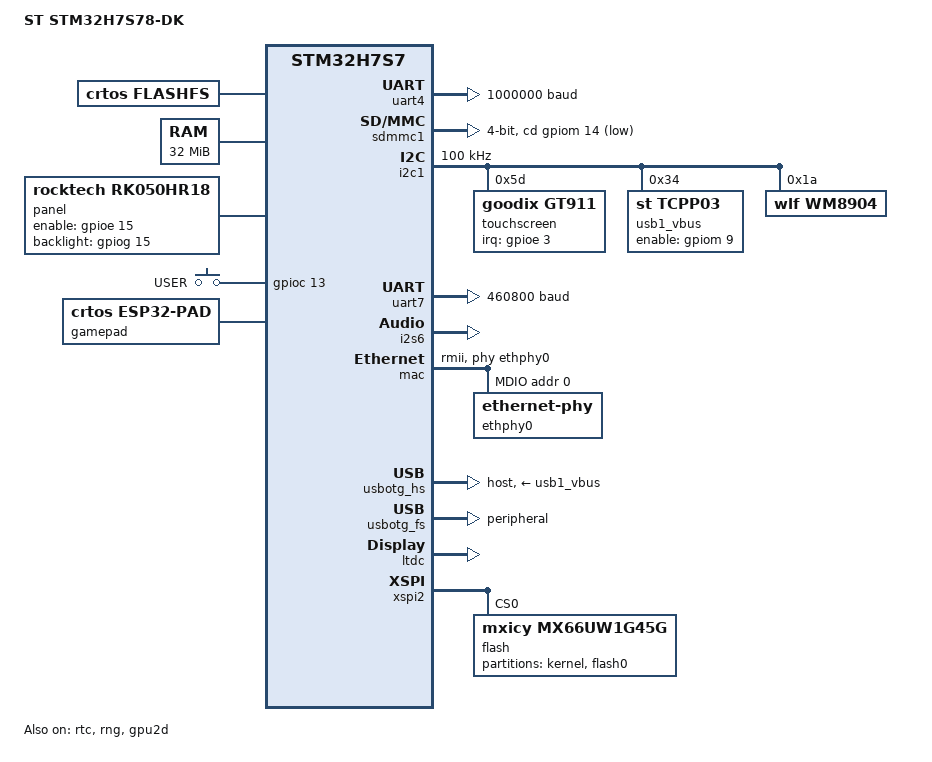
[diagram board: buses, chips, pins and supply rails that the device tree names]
// SPDX-License-Identifier: BSD-3-Clause
/*
 * ST STM32H7S78-DK board description for CRTOS. Pins as ST's BSP (STM32CubeH7RS
 * Drivers/BSP/STM32H7S78-DK) and the board's user manual UM3289 have them.
 */
/dts-v1/;

#include "stm32h7s7.dtsi"
#include <dt-bindings/input/input.h>

/ {
	model = "ST STM32H7S78-DK";
	compatible = "st,stm32h7s78-dk", "st,stm32h7s7";

	aliases {
		serial4 = &uart4;
		serial7 = &uart7;
		mmc0 = &sdmmc1;
		display0 = &ltdc;
	};

	chosen {
		stdout-path = "serial4:1000000n8";
		crtos,init = "/sd/crtos/sbin/init.app";
	};

	/* files on the NOR flash beyond the kernel, programs there run in place (drivers/fs/flashfs.c) */
	flashfs {
		compatible = "crtos,flashfs";
		partition = <&flash0_part>;
		mountpoint = "/flash0";
	};

	psram: memory@90000000 {
		device_type = "memory";
		reg = <0x90000000 0x2000000>;
	};

	/* The 5" RK050HR18 panel (800x480, 24-bit RGB) with its GT911 touch controller: DISP
	 * on PE15, the backlight on PG15 */
	panel: panel {
		compatible = "rocktech,rk050hr18";
		enable-gpios = <&gpioe 15 GPIO_ACTIVE_HIGH>;
		backlight-gpios = <&gpiog 15 GPIO_ACTIVE_HIGH>;

		display-timings {
			native-mode = <&timing0>;

			/* ST's BSP values; 25 MHz typical, PLL3 R gives 24.576 MHz (59.9 Hz) */
			timing0: timing-800x480 {
				clock-frequency = <25000000>;
				hactive = <800>;
				vactive = <480>;
				hfront-porch = <8>;
				hback-porch = <8>;
				hsync-len = <4>;
				vfront-porch = <8>;
				vback-porch = <8>;
				vsync-len = <4>;
				hsync-active = <0>;
				vsync-active = <0>;
				de-active = <1>;
				pixelclk-active = <1>;
			};
		};
	};

	gpio-keys {
		compatible = "gpio-keys";
		pinctrl-names = "default";
		pinctrl-0 = <&pinctrl_keys>;

		user-button {
			label = "USER";
			gpios = <&gpioc 13 GPIO_ACTIVE_HIGH>;
			linux,code = <KEY_HOME>;
			debounce-interval = <20>;
		};
	};

	/* A DualSense (Edge) pad over Bluetooth through the ESP32 bridge (esp32-s3-bt-mod/):
	 * ESP32 GPIO17 (UART2 TX) -> D0 of the Arduino connector (PE7, UART7 RX), GND -> GND.
	 * The driver (drivers/input/esp32-pad) reads the bridge's frames from UART7 (uart-stm32,
	 * /dev/ttyS7) and makes the pad an input device. */
	gamepad {
		compatible = "crtos,esp32-pad";
		port = "/dev/ttyS7";
		current-speed = <460800>;
	};

	/* the TCP/IP stack (lwIP, drivers/net/lwip): sockets on every network interface */
	tcpip {
		compatible = "crtos,lwip";
	};
};

&pinctrl {
	/* the touch controller and the audio codec */
	pinctrl_i2c1: i2c1grp {
		pinmux = <STM32_PINMUX(B, 6, AF4)>, <STM32_PINMUX(B, 9, AF4)>;
		drive-open-drain;
		bias-pull-up;
	};

	/* GT911 INT */
	pinctrl_touch: touchgrp {
		pinmux = <STM32_PINMUX(E, 3, GPIO)>;
		bias-pull-down;
	};

	/* I2S6 to the WM8904: MCK, CK, WS, SDO (SDI on PG12 is the codec's ADC, unused) */
	pinctrl_i2s6: i2s6grp {
		pinmux = <STM32_PINMUX(A, 3, AF5)>, <STM32_PINMUX(A, 5, AF8)>, <STM32_PINMUX(A, 4, AF8)>,
			 <STM32_PINMUX(B, 5, AF8)>;
		slew-rate = <STM32_SLEW_HIGH>;
	};

	/* LTDC: R0-R7, G0-G7, B0-B7, DE, CLK, HSYNC, VSYNC */
	pinctrl_ltdc: ltdcgrp {
		pinmux = <STM32_PINMUX(F, 9, AF13)>, <STM32_PINMUX(F, 10, AF14)>, <STM32_PINMUX(F, 0, AF11)>,
			 <STM32_PINMUX(B, 4, AF13)>, <STM32_PINMUX(B, 3, AF13)>, <STM32_PINMUX(A, 15, AF13)>,
			 <STM32_PINMUX(G, 1, AF13)>, <STM32_PINMUX(G, 0, AF13)>,
			 <STM32_PINMUX(F, 7, AF13)>, <STM32_PINMUX(F, 15, AF13)>, <STM32_PINMUX(A, 1, AF13)>,
			 <STM32_PINMUX(A, 0, AF13)>, <STM32_PINMUX(B, 13, AF10)>, <STM32_PINMUX(B, 12, AF13)>,
			 <STM32_PINMUX(B, 11, AF13)>, <STM32_PINMUX(B, 15, AF10)>,
			 <STM32_PINMUX(F, 11, AF14)>, <STM32_PINMUX(G, 14, AF13)>, <STM32_PINMUX(A, 12, AF13)>,
			 <STM32_PINMUX(A, 11, AF13)>, <STM32_PINMUX(A, 10, AF14)>, <STM32_PINMUX(A, 9, AF14)>,
			 <STM32_PINMUX(A, 8, AF13)>, <STM32_PINMUX(A, 6, AF12)>,
			 <STM32_PINMUX(B, 14, AF13)>, <STM32_PINMUX(G, 13, AF13)>, <STM32_PINMUX(G, 2, AF13)>,
			 <STM32_PINMUX(E, 11, AF11)>;
		slew-rate = <STM32_SLEW_HIGH>;
	};

	/* Ethernet RMII to the LAN8742A, its MDIO (MDC on PC1 needs JP6 in that position) */
	pinctrl_eth: ethgrp {
		pinmux = <STM32_PINMUX(D, 7, AF4)>, <STM32_PINMUX(A, 7, AF11)>, <STM32_PINMUX(C, 4, AF11)>,
			 <STM32_PINMUX(C, 5, AF11)>, <STM32_PINMUX(G, 11, AF11)>, <STM32_PINMUX(B, 0, AF11)>,
			 <STM32_PINMUX(B, 1, AF11)>, <STM32_PINMUX(A, 2, AF11)>, <STM32_PINMUX(C, 1, AF11)>;
		slew-rate = <STM32_SLEW_HIGH>;
	};

	/* USB1 (OTG_HS): D-, D+, and the CC lines of its USB-C connector (UCPD1); USB2 (OTG_FS):
	 * D-, D+ */
	pinctrl_usb_hs: usbhsgrp {
		pinmux = <STM32_PINMUX(M, 5, AF10)>, <STM32_PINMUX(M, 6, AF10)>, <STM32_PINMUX(M, 0, ANALOG)>,
			 <STM32_PINMUX(M, 1, ANALOG)>;
	};

	/* the TCPP03 of USB1: ENABLE (PM9), FLGn (PM8, a fault: unused) */
	pinctrl_tcpp: tcppgrp {
		pinmux = <STM32_PINMUX(M, 9, GPIO)>, <STM32_PINMUX(M, 8, GPIO)>;
		bias-pull-up;
	};

	pinctrl_usb_fs: usbfsgrp {
		pinmux = <STM32_PINMUX(M, 12, AF10)>, <STM32_PINMUX(M, 11, AF10)>;
	};

	/* the panel's DISP and backlight */
	pinctrl_panel: panelgrp {
		pinmux = <STM32_PINMUX(E, 15, GPIO)>, <STM32_PINMUX(G, 15, GPIO)>;
	};

	/* the USER button (B2): high when pressed */
	pinctrl_keys: keysgrp {
		pinmux = <STM32_PINMUX(C, 13, GPIO)>;
		bias-pull-down;
	};

	/* UART7 on the Arduino connector: D0 (PE7, RX) and D1 (PE8, TX); RX pulled up, so a line
	 * without the ESP32 bridge stays idle */
	pinctrl_uart7: uart7grp {
		pinmux = <STM32_PINMUX(E, 7, AF7)>, <STM32_PINMUX(E, 8, AF7)>;
		bias-pull-up;
	};
};

/* the console: the ST-LINK's virtual COM port (the kernel's own driver) */
&uart4 {
	current-speed = <1000000>;
	status = "okay";
};

/* micro SD slot (the kernel's own driver: the system boots from it) */
&sdmmc1 {
	bus-width = <4>;
	cd-gpios = <&gpiom 14 GPIO_ACTIVE_LOW>;
	status = "okay";
};

&i2c1 {
	pinctrl-names = "default";
	pinctrl-0 = <&pinctrl_i2c1>;
	clock-frequency = <100000>;
	status = "okay";

	/* the panel's touch controller (the board has no reset line for it: address 0x5d) */
	touchscreen@5d {
		compatible = "goodix,gt911";
		reg = <0x5d>;
		pinctrl-names = "default";
		pinctrl-0 = <&pinctrl_touch>;
		interrupt-parent = <&gpioe>;
		interrupts = <3 IRQ_TYPE_EDGE_RISING>;
	};

	/* the protection of the USB-C connector USB1, whose gate drivers put the board's 5 V on
	 * its VBUS (usb-stm32: the host side there) */
	usb1_vbus: usb-power@34 {
		compatible = "st,tcpp03";
		reg = <0x34>;
		pinctrl-names = "default";
		pinctrl-0 = <&pinctrl_tcpp>;
		enable-gpios = <&gpiom 9 GPIO_ACTIVE_HIGH>;
	};

	/* sound: the headphone jack (i2s-stm32, /dev/audio) */
	wm8904: audio-codec@1a {
		compatible = "wlf,wm8904";
		reg = <0x1a>;
	};
};

/* the serial port of the Arduino connector (D0/D1): the ESP32 pad bridge, 460800 baud */
&uart7 {
	pinctrl-names = "default";
	pinctrl-0 = <&pinctrl_uart7>;
	current-speed = <460800>;
	status = "okay";
};

&i2s6 {
	pinctrl-names = "default";
	pinctrl-0 = <&pinctrl_i2s6>;
	audio-codec = <&wm8904>;
	status = "okay";
};

/* Ethernet: the LAN8742A PHY at MDIO address 0, which makes the 50 MHz RMII clock */
&mac {
	pinctrl-names = "default";
	pinctrl-0 = <&pinctrl_eth>;
	phy-mode = "rmii";
	phy-handle = <&ethphy0>;
	status = "okay";

	mdio {
		#address-cells = <1>;
		#size-cells = <0>;
		ethphy0: ethernet-phy@0 {
			reg = <0>;
		};
	};
};

/* USB1 (USB-C, high speed): keyboards, mice and hubs - through an adapter to USB-A as well.
 * VBUS goes on when the UCPD sees a device on the CC lines (TCPP03 above). */
&usbotg_hs {
	pinctrl-names = "default";
	pinctrl-0 = <&pinctrl_usb_hs>;
	clocks = <&rcc STM32_CLK(STM32_AHB1ENR, STM32_AHB1_OTGHS)>, <&rcc STM32_CLK(STM32_AHB1ENR, STM32_AHB1_USBPHYC)>,
		 <&rcc STM32_CLK(STM32_APB1ENR2, STM32_APB12_UCPD1)>;
	clock-names = "otg", "phy", "typec";
	dr_mode = "host";
	vbus-supply = <&usb1_vbus>;
	typec-controller = <&ucpd1>;
	status = "okay";
};

/* USB2 (a sink-only USB-C port): the board as a USB serial port of the computer (/dev/ttyACM0,
 * a shell by getty). Jumper JP1 picks the board's 5 V source: STLK (the ST-LINK's USB, the
 * default) or USB2 (then the computer on USB2 powers the board). */
&usbotg_fs {
	pinctrl-names = "default";
	pinctrl-0 = <&pinctrl_usb_fs>;
	dr_mode = "peripheral";
	status = "okay";
};

/* the date across resets (the RTC counts the 32.768 kHz LSE crystal in the backup domain) */
&rtc {
	status = "okay";
};

/* entropy: /dev/random */
&rng {
	status = "okay";
};

/* the 2D accelerator of the graphics server (gpu2d-stm32, /dev/gpu2d) */
&gpu2d {
	status = "okay";
};

&ltdc {
	pinctrl-names = "default";
	pinctrl-0 = <&pinctrl_ltdc &pinctrl_panel>;
	display = <&panel>;
	status = "okay";
};

/* the NOR flash: the kernel image in the first 2 MB, the rest is the file system /flash0 */
&xspi2 {
	status = "okay";

	flash@0 {
		compatible = "mxicy,mx66uw1g45g";
		reg = <0>;
		size = <0x8000000>;

		partitions {
			compatible = "fixed-partitions";
			#address-cells = <1>;
			#size-cells = <1>;
			partition@0 {
				label = "kernel";
				reg = <0x0 0x200000>;
				read-only;
			};
			flash0_part: partition@200000 {
				label = "flash0";
				reg = <0x200000 0x7e00000>;
			};
		};
	};
};
